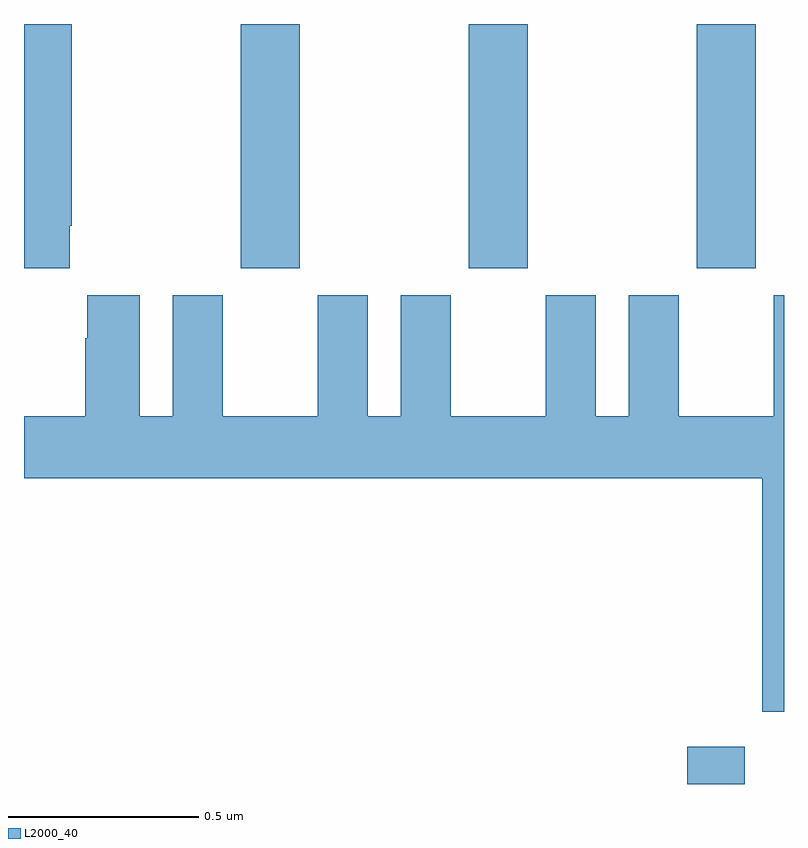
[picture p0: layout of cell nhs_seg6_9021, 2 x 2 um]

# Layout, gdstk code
import gdstk
lib = gdstk.Library(unit=1e-6, precision=1e-09)
def R(c, l, rs):  # rectangles x0, y0, x1, y1
    for r in rs: c.add(gdstk.rectangle(r[:2], r[2:], *l))
def A(c, l, x, y, w, h, nx, ny, dx, dy):  # array of equal rectangles
    R(c, l, [(x+i*dx, y+j*dy, x+i*dx+w, y+j*dy+h) for i in range(nx) for j in range(ny)])
def P(c, l, *ps):  # polygons
    for p in ps: c.add(gdstk.Polygon(p, *l))
L2000_40 = (2000, 40)

nhs_seg6_9021 = lib.new_cell('nhs_seg6_9021')
A(nhs_seg6_9021, L2000_40, 228.571, 979.857, 0.155, 0.643, 3, 1, 0.6, 0)
R(nhs_seg6_9021, L2000_40, [(229.745,978.5,229.897,978.598)])
P(nhs_seg6_9021, L2000_40, [(228.121,979.969),(228.126,979.969),(228.126,980.5),(228,980.5),(228,979.857),(228.121,979.857)],
  [(230,979.786),(229.973,979.786),(229.973,979.468),(229.723,979.468),(229.723,979.786),(229.592,979.786),(229.592,979.468),(229.504,979.468),(229.504,979.786),(229.373,979.786),(229.373,979.468),(229.123,979.468),(229.123,979.786),(228.992,979.786),(228.992,979.468),(228.904,979.468),(228.904,979.786),(228.773,979.786),(228.773,979.468),(228.523,979.468),(228.523,979.786),(228.392,979.786),(228.392,979.468),(228.304,979.468),(228.304,979.786),(228.167,979.786),(228.167,979.673),(228.161,979.673),(228.161,979.468),(228,979.468),(228,979.304),(229.943,979.304),(229.943,978.69),(230,978.69)])

lib.write_gds('nhs_seg6_9021.gds')
